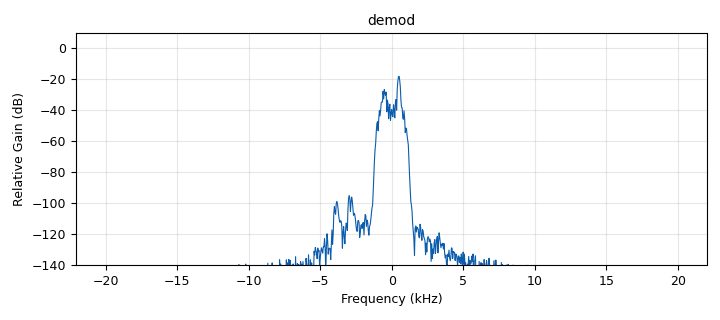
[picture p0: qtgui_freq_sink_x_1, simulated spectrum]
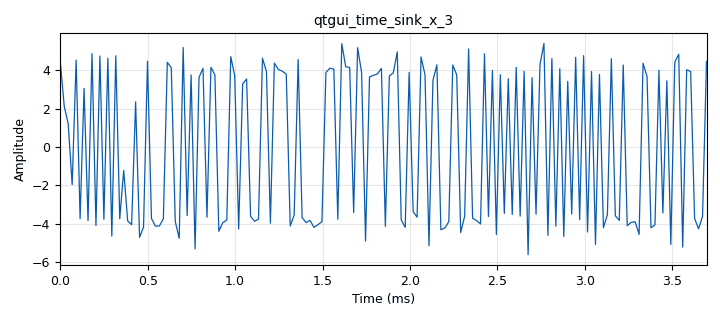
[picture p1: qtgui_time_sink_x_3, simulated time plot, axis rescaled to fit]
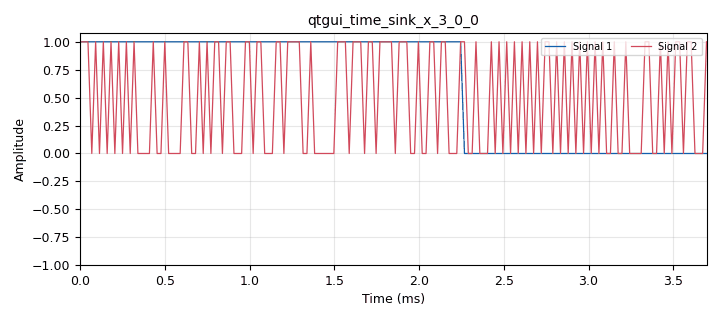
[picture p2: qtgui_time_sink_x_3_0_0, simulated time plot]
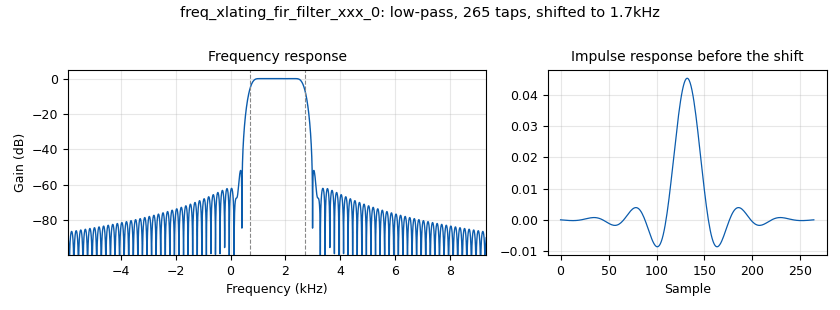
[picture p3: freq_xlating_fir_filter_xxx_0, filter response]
options:
  parameters:
    author: B. Kerler
    copyright: '2022'
    generate_options: qt_gui
    id: bfsk_mod_demod2
    output_language: python
    title: BFSK Mod / Demod example
  states: {}

blocks:
- name: fsk_deviation_hz
  id: variable
  parameters:
    value: 1e3/8
  states: {}
- name: samp_rate
  id: variable
  parameters:
    value: '44100'
  states: {}
- name: sps
  id: variable
  parameters:
    value: '100'
  states: {}
- name: tap
  id: variable_low_pass_filter_taps
  parameters:
    cutoff_freq: '1000'
    gain: '1.0'
    samp_rate: samp_rate
    width: '400'
    win: window.WIN_HAMMING
  states: {}
- name: analog_agc_xx_0
  id: analog_agc_xx
  parameters:
    gain: '1.0'
    max_gain: '65536'
    rate: '1e-4'
    reference: '1.0'
    type: complex
  states: {}
- name: analog_const_source_x_0
  id: analog_const_source_x
  parameters:
    const: '1'
    type: float
  states: {}
- name: analog_noise_source_x_0
  id: analog_noise_source_x
  parameters:
    amp: '0.1'
    noise_type: analog.GR_GAUSSIAN
    seed: '0'
    type: float
  states: {}
- name: analog_quadrature_demod_cf_0_0
  id: analog_quadrature_demod_cf
  parameters:
    gain: '-samp_rate/(2*math.pi*fsk_deviation_hz)'
  states: {}
- name: analog_sig_source_x_0
  id: analog_sig_source_x
  parameters:
    amp: '1'
    freq: '1200'
    offset: '0'
    phase: '0'
    samp_rate: samp_rate
    type: float
    waveform: analog.GR_COS_WAVE
  states: {}
- name: analog_sig_source_x_0_0
  id: analog_sig_source_x
  parameters:
    amp: '1'
    freq: '2200'
    offset: '0'
    phase: '0'
    samp_rate: samp_rate
    type: float
    waveform: analog.GR_COS_WAVE
  states: {}
- name: blocks_add_xx_0
  id: blocks_add_xx
  parameters:
    type: float
  states: {}
- name: blocks_add_xx_1
  id: blocks_add_xx
  parameters:
    type: float
  states: {}
- name: blocks_char_to_float_0
  id: blocks_char_to_float
  parameters:
    scale: '1'
  states: {}
- name: blocks_char_to_float_1
  id: blocks_char_to_float
  parameters:
    scale: '1'
  states: {}
- name: blocks_file_sink_0_0
  id: blocks_file_sink
  parameters:
    file: /tmp/test3.out
    type: byte
  states: {}
- name: blocks_file_sink_0_0_0
  id: blocks_file_sink
  parameters:
    file: /tmp/test.out
    type: byte
  states: {}
- name: blocks_multiply_xx_0
  id: blocks_multiply_xx
  parameters:
    type: float
  states: {}
- name: blocks_multiply_xx_0_0
  id: blocks_multiply_xx
  parameters:
    type: float
  states: {}
- name: blocks_repeat_0
  id: blocks_repeat
  parameters:
    interp: sps
    type: byte
  states: {}
- name: blocks_sub_xx_0
  id: blocks_sub_xx
  parameters:
    type: float
  states: {}
- name: blocks_throttle_0
  id: blocks_throttle
  parameters:
    samples_per_second: samp_rate
    type: float
  states: {}
- name: blocks_unpack_k_bits_bb_0
  id: blocks_unpack_k_bits_bb
  parameters:
    k: '8'
  states: {}
- name: blocks_vector_source_x_0_0
  id: blocks_vector_source_x
  parameters:
    comment: |-
      Preamble 1010101010101010
      Text "Hello World"
      Postamble 0101010101010101
    repeat: 'False'
    type: byte
    vector: 2*(170,170,72,101,108,108,111,32,119,111,114,108,100,85,85)
  states: {}
- name: blocks_wavfile_sink_0
  id: blocks_wavfile_sink
  parameters:
    bits_per_sample1: FORMAT_PCM_16
    file: /home/bjk/gnuradio/test.wav
    format: FORMAT_WAV
    samp_rate: samp_rate
  states: {state: disabled}
- name: digital_binary_slicer_fb_0
  id: digital_binary_slicer_fb
  parameters: {}
  states: {}
- name: digital_symbol_sync_xx_1
  id: digital_symbol_sync_xx
  parameters:
    damping: '1'
    loop_bw: 2*pi*0.04
    max_dev: '0.01'
    osps: '1'
    resamp_type: digital.IR_MMSE_8TAP
    sps: sps
    ted_gain: '1'
    ted_type: digital.TED_GARDNER
    type: ff
  states: {}
- name: epy_block_0
  id: epy_block
  parameters:
    _source_code: "\"\"\"\nEmbedded Python Blocks:\n\nEach time this file is saved, GRC will instantiate the first class it finds\nto get ports and parameters of your block. The arguments to __init__  will\nbe the parameters. All of them are required to have default values!\n\"\"\"\n\nimport numpy as np\nfrom gnuradio import gr\nimport pmt\nfrom binascii import hexlify\n\nclass blk(gr.sync_block):  # other base classes are basic_block, decim_block, interp_block\n    \"\"\"Embedded Python Block example - a simple multiply const\"\"\"\n\n    def __init__(self, example_param=1.0):  # only default arguments here\n        \"\"\"arguments to this function show up as parameters in GRC\"\"\"\n        gr.sync_block.__init__(\n            self,\n            name='FSK Decoder',   # will show up in GRC\n            in_sig=None,\n            out_sig=None\n        )\n        # if an attribute with the same name as a parameter is found,\n        # a callback is registered (properties work, too).\n        self.message_port_register_in(pmt.intern('msg_in'))\n        self.set_msg_handler(pmt.intern('msg_in'), self.handle_msg)\n\n   \n    def handle_msg(self, msg):\n        arr = list(pmt.to_python(msg)[1])\n        msg_str = \"\".join([str(x) for x in arr])\n        print(\"Bits: \"+msg_str)\n        info=\"Data: \"\n        for i in range(0,len(msg_str),8):\n            info += hex(int(msg_str[i:i+8],2))[2:]\n        print(info)\n        info=\"Decoded:\"\n        ba=bytearray()\n        for i in range(0,len(msg_str),8):\n            ba.append(int(msg_str[i:i+8],2))\n        for val in ba:\n            if 0x20<val>0x80:\n                info+=hex(val)[2:]\n            else:\n                info+=chr(val)\n        print(info)\n        \n\n"
    example_param: '1.0'
  states: {}
- name: freq_xlating_fir_filter_xxx_0
  id: freq_xlating_fir_filter_xxx
  parameters:
    center_freq: 1.7e3
    decim: '1'
    samp_rate: samp_rate
    taps: tap
    type: fcc
  states: {}
- name: import_0
  id: import
  parameters:
    imports: from math import pi
  states: {}
- name: qtgui_freq_sink_x_0
  id: qtgui_freq_sink_x
  parameters:
    bw: samp_rate
    fc: '0'
    fftsize: '1024'
    type: float
  states: {state: disabled}
- name: qtgui_freq_sink_x_1
  id: qtgui_freq_sink_x
  parameters:
    bw: samp_rate
    fc: '0'
    fftsize: '1024'
    name: '"demod"'
    type: complex
  states: {}
- name: qtgui_time_raster_sink_x_0
  id: qtgui_time_raster_sink_x
  parameters:
    ncols: '256'
    nrows: '2500'
    samp_rate: samp_rate
    type: msg_byte
  states: {}
- name: qtgui_time_sink_x_0
  id: qtgui_time_sink_x
  parameters:
    size: '1024'
    srate: samp_rate
    type: float
  states: {state: disabled}
- name: qtgui_time_sink_x_1
  id: qtgui_time_sink_x
  parameters:
    autoscale: 'True'
    grid: 'True'
    name: '"Demodulated Signal"'
    size: samp_rate//10
    srate: samp_rate
    type: float
  states: {state: disabled}
- name: qtgui_time_sink_x_3
  id: qtgui_time_sink_x
  parameters:
    size: '1024'
    srate: samp_rate
    type: float
  states: {}
- name: qtgui_time_sink_x_3_0_0
  id: qtgui_time_sink_x
  parameters:
    nconnections: '2'
    size: '1024'
    srate: samp_rate
    type: float
  states: {}
- name: qtgui_waterfall_sink_x_0
  id: qtgui_waterfall_sink_x
  parameters:
    bw: samp_rate
    fc: '0'
    fftsize: '128'
    type: complex
  states: {}
- name: satellites_sync_to_pdu_0
  id: satellites_sync_to_pdu
  parameters:
    packlen: 11*8
    sync: '"1010101010101010"'
    threshold: '1'
  states: {}
- name: virtual_sink_0
  id: virtual_sink
  parameters:
    stream_id: mod
  states: {}
- name: virtual_sink_1
  id: virtual_sink
  parameters:
    stream_id: data
  states: {}
- name: virtual_sink_2
  id: virtual_sink
  parameters:
    stream_id: noise
  states: {}
- name: virtual_source_0
  id: virtual_source
  parameters:
    stream_id: mod
  states: {}
- name: virtual_source_1
  id: virtual_source
  parameters:
    stream_id: data
  states: {}
- name: virtual_source_1_0
  id: virtual_source
  parameters:
    stream_id: data
  states: {}
- name: virtual_source_1_0_0_0
  id: virtual_source
  parameters:
    stream_id: data
  states: {}
- name: virtual_source_2
  id: virtual_source
  parameters:
    stream_id: noise
  states: {}

connections:
- [analog_agc_xx_0, '0', analog_quadrature_demod_cf_0_0, '0']
- [analog_const_source_x_0, '0', blocks_sub_xx_0, '0']
- [analog_noise_source_x_0, '0', blocks_throttle_0, '0']
- [analog_quadrature_demod_cf_0_0, '0', digital_symbol_sync_xx_1, '0']
- [analog_quadrature_demod_cf_0_0, '0', qtgui_time_sink_x_1, '0']
- [analog_sig_source_x_0, '0', blocks_multiply_xx_0_0, '0']
- [analog_sig_source_x_0_0, '0', blocks_multiply_xx_0, '0']
- [blocks_add_xx_0, '0', blocks_add_xx_1, '1']
- [blocks_add_xx_0, '0', blocks_wavfile_sink_0, '0']
- [blocks_add_xx_0, '0', qtgui_freq_sink_x_0, '0']
- [blocks_add_xx_0, '0', qtgui_time_sink_x_0, '0']
- [blocks_add_xx_1, '0', virtual_sink_0, '0']
- [blocks_char_to_float_0, '0', virtual_sink_1, '0']
- [blocks_char_to_float_1, '0', qtgui_time_sink_x_3_0_0, '1']
- [blocks_multiply_xx_0, '0', blocks_add_xx_0, '1']
- [blocks_multiply_xx_0_0, '0', blocks_add_xx_0, '0']
- [blocks_repeat_0, '0', blocks_char_to_float_0, '0']
- [blocks_sub_xx_0, '0', blocks_multiply_xx_0, '1']
- [blocks_throttle_0, '0', virtual_sink_2, '0']
- [blocks_unpack_k_bits_bb_0, '0', blocks_file_sink_0_0, '0']
- [blocks_unpack_k_bits_bb_0, '0', blocks_repeat_0, '0']
- [blocks_vector_source_x_0_0, '0', blocks_unpack_k_bits_bb_0, '0']
- [digital_binary_slicer_fb_0, '0', blocks_char_to_float_1, '0']
- [digital_binary_slicer_fb_0, '0', blocks_file_sink_0_0_0, '0']
- [digital_binary_slicer_fb_0, '0', satellites_sync_to_pdu_0, '0']
- [digital_symbol_sync_xx_1, '0', digital_binary_slicer_fb_0, '0']
- [digital_symbol_sync_xx_1, '0', qtgui_time_sink_x_3, '0']
- [freq_xlating_fir_filter_xxx_0, '0', analog_agc_xx_0, '0']
- [freq_xlating_fir_filter_xxx_0, '0', qtgui_freq_sink_x_1, '0']
- [freq_xlating_fir_filter_xxx_0, '0', qtgui_waterfall_sink_x_0, '0']
- [satellites_sync_to_pdu_0, out, epy_block_0, msg_in]
- [satellites_sync_to_pdu_0, out, qtgui_time_raster_sink_x_0, in]
- [virtual_source_0, '0', freq_xlating_fir_filter_xxx_0, '0']
- [virtual_source_1, '0', blocks_multiply_xx_0_0, '1']
- [virtual_source_1_0, '0', blocks_sub_xx_0, '1']
- [virtual_source_1_0_0_0, '0', qtgui_time_sink_x_3_0_0, '0']
- [virtual_source_2, '0', blocks_add_xx_1, '0']

metadata:
  file_format: 1
  grc_version: v3.11.0.0git-233-ga20232e9
